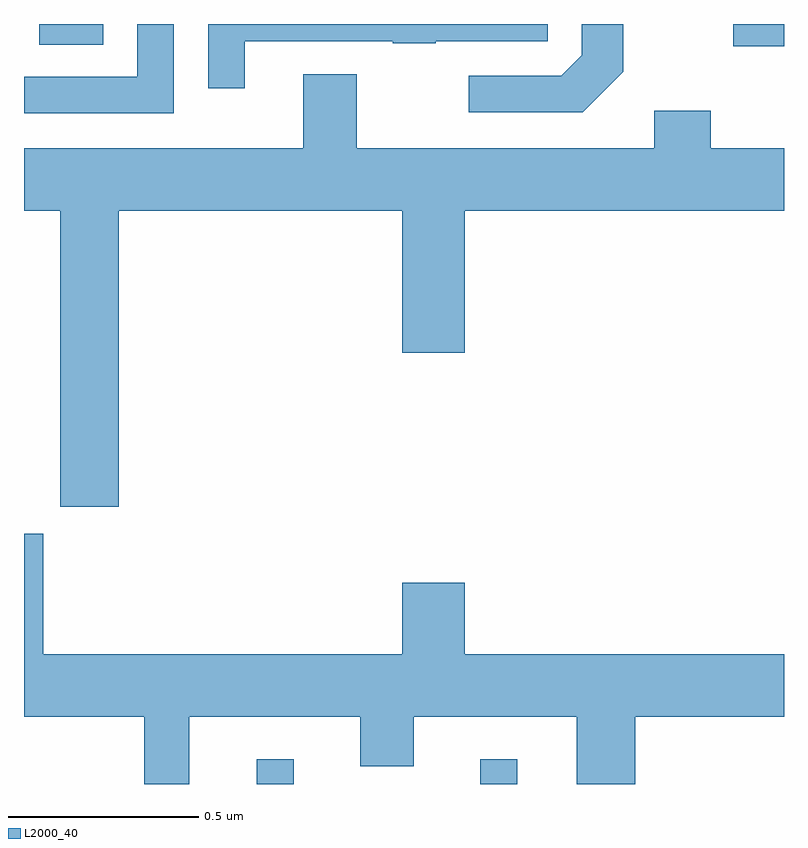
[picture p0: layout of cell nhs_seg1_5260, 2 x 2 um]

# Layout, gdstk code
import gdstk
lib = gdstk.Library(unit=1e-6, precision=1e-09)
def R(c, l, rs):  # rectangles x0, y0, x1, y1
    for r in rs: c.add(gdstk.rectangle(r[:2], r[2:], *l))
def P(c, l, *ps):  # polygons
    for p in ps: c.add(gdstk.Polygon(p, *l))
L2000_40 = (2000, 40)

nhs_seg1_5260 = lib.new_cell('nhs_seg1_5260')
R(nhs_seg1_5260, L2000_40, [(176.613,574.199,176.71,574.264), (177.2,574.199,177.298,574.264), (177.867,576.141,178,576.199), (176.04,576.145,176.208,576.199)])
P(nhs_seg1_5260, L2000_40, [(176.394,576.199),(176.298,576.199),(176.298,576.06),(176,576.06),(176,575.964),(176.394,575.964)],
  [(176.581,576.153),(176.971,576.153),(176.971,576.148),(177.083,576.148),(177.083,576.153),(177.378,576.153),(177.378,576.199),(176.485,576.199),(176.485,576.03),(176.581,576.03)],
  [(177.577,576.073),(177.577,576.199),(177.468,576.199),(177.468,576.117),(177.414,576.063),(177.171,576.063),(177.171,575.967),(177.471,575.967)],
  [(176.249,575.708),(176.996,575.708),(176.996,575.334),(177.16,575.334),(177.16,575.708),(178,575.708),(178,575.872),(177.807,575.872),(177.807,575.971),(177.659,575.971),(177.659,575.872),(176.875,575.872),(176.875,576.067),(176.735,576.067),(176.735,575.872),(176,575.872),(176,575.708),(176.096,575.708),(176.096,574.929),(176.249,574.929)],
  [(177.16,574.729),(176.996,574.729),(176.996,574.54),(176.05,574.54),(176.05,574.857),(176,574.857),(176,574.376),(176.317,574.376),(176.317,574.199),(176.435,574.199),(176.435,574.376),(176.885,574.376),(176.885,574.246),(177.025,574.246),(177.025,574.376),(177.455,574.376),(177.455,574.199),(177.608,574.199),(177.608,574.376),(178,574.376),(178,574.54),(177.16,574.54)])

lib.write_gds('nhs_seg1_5260.gds')
